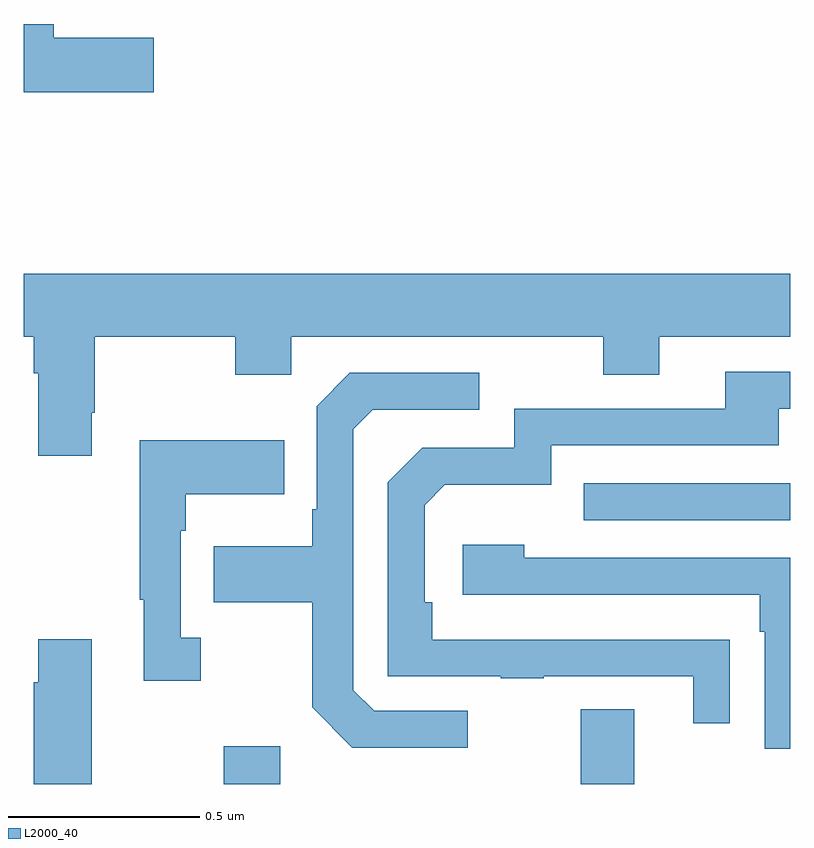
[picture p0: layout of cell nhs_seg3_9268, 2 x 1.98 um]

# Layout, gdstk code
import gdstk
lib = gdstk.Library(unit=1e-6, precision=1e-09)
def R(c, l, rs):  # rectangles x0, y0, x1, y1
    for r in rs: c.add(gdstk.rectangle(r[:2], r[2:], *l))
def P(c, l, *ps):  # polygons
    for p in ps: c.add(gdstk.Polygon(p, *l))
L2000_40 = (2000, 40)

nhs_seg3_9268 = lib.new_cell('nhs_seg3_9268')
R(nhs_seg3_9268, L2000_40, [(226.522,714.4,226.669,714.499), (227.453,714.4,227.593,714.595), (227.461,715.089,228,715.185)])
P(nhs_seg3_9268, L2000_40, [(226.339,716.348),(226.078,716.348),(226.078,716.384),(226,716.384),(226,716.206),(226.339,716.206)],
  [(226.177,715.369),(226.185,715.369),(226.185,715.568),(226.552,715.568),(226.552,715.469),(226.698,715.469),(226.698,715.568),(227.512,715.568),(227.512,715.469),(227.659,715.469),(227.659,715.568),(228,715.568),(228,715.732),(226,715.732),(226,715.568),(226.025,715.568),(226.025,715.472),(226.037,715.472),(226.037,715.257),(226.177,715.257)],
  [(227.843,714.776),(227.741,714.776),(227.741,714.777),(227.066,714.777),(227.066,714.874),(227.046,714.874),(227.046,715.128),(227.099,715.181),(227.376,715.181),(227.376,715.284),(227.971,715.284),(227.971,715.38),(228,715.38),(228,715.476),(227.831,715.476),(227.831,715.38),(227.28,715.38),(227.28,715.278),(227.04,715.278),(226.95,715.188),(226.95,714.681),(227.245,714.681),(227.245,714.676),(227.357,714.676),(227.357,714.681),(227.747,714.681),(227.747,714.558),(227.843,714.558)],
  [(227.158,714.591),(226.914,714.591),(226.86,714.645),(226.86,715.326),(226.911,715.377),(227.188,715.377),(227.188,715.473),(226.851,715.473),(226.764,715.386),(226.764,715.117),(226.752,715.117),(226.752,715.021),(226.495,715.021),(226.495,714.874),(226.752,714.874),(226.752,714.601),(226.857,714.495),(227.158,714.495)],
  [(226.462,714.782),(226.41,714.782),(226.41,715.061),(226.423,715.061),(226.423,715.157),(226.679,715.157),(226.679,715.297),(226.302,715.297),(226.302,714.881),(226.313,714.881),(226.313,714.669),(226.462,714.669)],
  [(228,714.99),(227.306,714.99),(227.306,715.024),(227.145,715.024),(227.145,714.894),(227.921,714.894),(227.921,714.797),(227.934,714.797),(227.934,714.492),(228,714.492)],
  [(226.037,714.778),(226.037,714.665),(226.025,714.665),(226.025,714.4),(226.177,714.4),(226.177,714.778)])

lib.write_gds('nhs_seg3_9268.gds')
